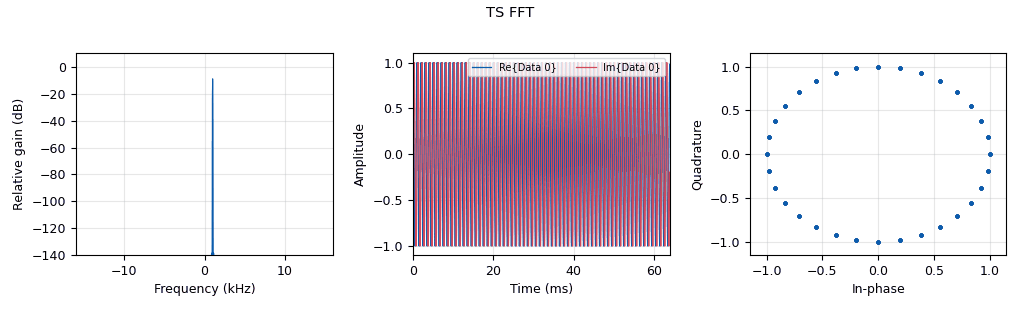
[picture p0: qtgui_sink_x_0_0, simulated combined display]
<?xml version='1.0' encoding='utf-8'?>
<flow_graph>
<block>
<key>options</key>
<param><key>id</key><value>top_block</value></param>
<param><key>generate_options</key><value>qt_gui</value></param>
<param><key>category</key><value>Custom</value></param>
</block>
<block>
<key>variable</key>
<param><key>id</key><value>packet_len</value></param>
<param><key>value</key><value>2**11</value></param>
</block>
<block>
<key>variable</key>
<param><key>id</key><value>samp_rate</value></param>
<param><key>value</key><value>32000</value></param>
</block>
<block>
<key>blocks_throttle</key>
<param><key>id</key><value>blocks_throttle_0</value></param>
<param><key>type</key><value>complex</value></param>
<param><key>samples_per_second</key><value>samp_rate</value></param>
</block>
<block>
<key>variable_qtgui_range</key>
<param><key>id</key><value>freq</value></param>
<param><key>value</key><value>1000</value></param>
<param><key>start</key><value>-samp_rate/2.0</value></param>
<param><key>stop</key><value>samp_rate/2.0</value></param>
<param><key>step</key><value>1</value></param>
<param><key>orient</key><value>Qt.Horizontal</value></param>
</block>
<block>
<key>analog_sig_source_x</key>
<param><key>id</key><value>analog_sig_source_x_0</value></param>
<param><key>type</key><value>complex</value></param>
<param><key>samp_rate</key><value>samp_rate</value></param>
<param><key>waveform</key><value>analog.GR_COS_WAVE</value></param>
<param><key>freq</key><value>freq</value></param>
<param><key>amp</key><value>1</value></param>
<param><key>offset</key><value>0</value></param>
</block>
<block>
<key>blocks_stream_to_tagged_stream</key>
<param><key>id</key><value>blocks_stream_to_tagged_stream_0</value></param>
<param><key>type</key><value>complex</value></param>
<param><key>packet_len</key><value>packet_len</value></param>
<param><key>len_tag_key</key><value>"packet_len"</value></param>
</block>
<block>
<key>qtgui_sink_x</key>
<param><key>id</key><value>qtgui_sink_x_0_0</value></param>
<param><key>type</key><value>complex</value></param>
<param><key>name</key><value>TS FFT</value></param>
<param><key>fftsize</key><value>packet_len</value></param>
<param><key>wintype</key><value>firdes.WIN_BLACKMAN_hARRIS</value></param>
<param><key>fc</key><value>0</value></param>
<param><key>bw</key><value>samp_rate</value></param>
<param><key>freqchangevar</key><value>None</value></param>
</block>
<block>
<key>ts_fft_py_cc</key>
<param><key>id</key><value>ts_fft_py_cc_0</value></param>
<param><key>_enabled</key><value>False</value></param>
<param><key>samp_rate</key><value>samp_rate</value></param>
<param><key>packet_len</key><value>packet_len</value></param>
</block>
<block>
<key>radar_find_max_peak_c</key>
<param><key>id</key><value>radar_find_max_peak_c_0</value></param>
<param><key>_enabled</key><value>False</value></param>
<param><key>samp_rate</key><value>samp_rate</value></param>
<param><key>threshold</key><value>-200</value></param>
<param><key>samp_protect</key><value>0</value></param>
<param><key>len_key</key><value>"packet_len"</value></param>
</block>
<block>
<key>radar_print_peaks</key>
<param><key>id</key><value>radar_print_peaks_0</value></param>
<param><key>_enabled</key><value>False</value></param>
</block>
<block>
<key>radar_print_peaks</key>
<param><key>id</key><value>radar_print_peaks_0_0</value></param>
</block>
<block>
<key>radar_find_max_peak_c</key>
<param><key>id</key><value>radar_find_max_peak_c_0_0</value></param>
<param><key>samp_rate</key><value>samp_rate</value></param>
<param><key>threshold</key><value>-200</value></param>
<param><key>samp_protect</key><value>0</value></param>
<param><key>len_key</key><value>"packet_len"</value></param>
</block>
<block>
<key>radar_ts_fft_cc</key>
<param><key>id</key><value>radar_ts_fft_cc_0</value></param>
<param><key>packet_len</key><value>packet_len</value></param>
<param><key>len_key</key><value> "packet_len"</value></param>
</block>
<connection><source_block_id>analog_sig_source_x_0</source_block_id><sink_block_id>blocks_throttle_0</sink_block_id><source_key>0</source_key><sink_key>0</sink_key></connection>
<connection><source_block_id>blocks_throttle_0</source_block_id><sink_block_id>blocks_stream_to_tagged_stream_0</sink_block_id><source_key>0</source_key><sink_key>0</sink_key></connection>
<connection><source_block_id>blocks_stream_to_tagged_stream_0</source_block_id><sink_block_id>radar_ts_fft_cc_0</sink_block_id><source_key>0</source_key><sink_key>0</sink_key></connection>
<connection><source_block_id>blocks_stream_to_tagged_stream_0</source_block_id><sink_block_id>ts_fft_py_cc_0</sink_block_id><source_key>0</source_key><sink_key>0</sink_key></connection>
<connection><source_block_id>blocks_stream_to_tagged_stream_0</source_block_id><sink_block_id>qtgui_sink_x_0_0</sink_block_id><source_key>0</source_key><sink_key>0</sink_key></connection>
<connection><source_block_id>ts_fft_py_cc_0</source_block_id><sink_block_id>radar_find_max_peak_c_0</sink_block_id><source_key>0</source_key><sink_key>0</sink_key></connection>
<connection><source_block_id>radar_find_max_peak_c_0</source_block_id><sink_block_id>radar_print_peaks_0</sink_block_id><source_key>Msg out</source_key><sink_key>Msg in</sink_key></connection>
<connection><source_block_id>radar_ts_fft_cc_0</source_block_id><sink_block_id>radar_find_max_peak_c_0_0</sink_block_id><source_key>0</source_key><sink_key>0</sink_key></connection>
<connection><source_block_id>radar_find_max_peak_c_0_0</source_block_id><sink_block_id>radar_print_peaks_0_0</sink_block_id><source_key>Msg out</source_key><sink_key>Msg in</sink_key></connection>
</flow_graph>
